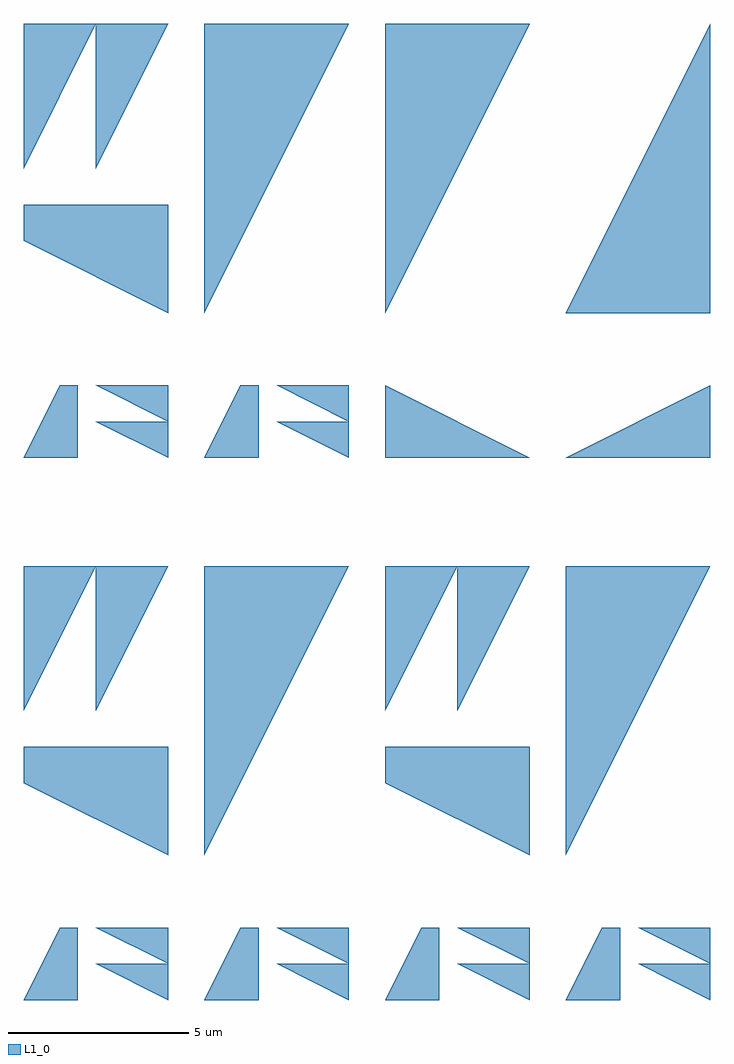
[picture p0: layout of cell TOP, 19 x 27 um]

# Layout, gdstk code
import gdstk
lib = gdstk.Library(unit=1e-6, precision=1e-09)
def R(c, l, rs):  # rectangles x0, y0, x1, y1
    for r in rs: c.add(gdstk.rectangle(r[:2], r[2:], *l))
def A(c, l, x, y, w, h, nx, ny, dx, dy):  # array of equal rectangles
    R(c, l, [(x+i*dx, y+j*dy, x+i*dx+w, y+j*dy+h) for i in range(nx) for j in range(ny)])
def P(c, l, *ps):  # polygons
    for p in ps: c.add(gdstk.Polygon(p, *l))
L1_0 = (1, 0)
L2_0 = (2, 0)
L3_0 = (3, 0)

top = lib.new_cell('TOP')
A(top, L1_0, 1, 0, 0.5, 2, 4, 1, 5, 0)
R(top, L1_0, [(0,6,4,7), (10,6,14,7), (1,15,1.5,17), (6,15,6.5,17), (0,21,4,22)])
P(top, L1_0, [(5,19),(5,27),(9,27)],
  [(0,15),(1,17),(1,15)],
  [(4,15),(2,16),(4,16)],
  [(4,16),(2,17),(4,17)],
  [(5,15),(6,17),(6,15)],
  [(9,15),(7,16),(9,16)],
  [(9,16),(7,17),(9,17)],
  [(4,19),(0,21),(4,21)],
  [(2,23),(2,27),(4,27)],
  [(0,23),(0,27),(2,27)],
  [(5,4),(5,12),(9,12)],
  [(0,0),(1,2),(1,0)],
  [(4,0),(2,1),(4,1)],
  [(4,1),(2,2),(4,2)],
  [(5,0),(6,2),(6,0)],
  [(9,0),(7,1),(9,1)],
  [(9,1),(7,2),(9,2)],
  [(4,4),(0,6),(4,6)],
  [(2,8),(2,12),(4,12)],
  [(0,8),(0,12),(2,12)],
  [(15,4),(15,12),(19,12)],
  [(10,0),(11,2),(11,0)],
  [(14,0),(12,1),(14,1)],
  [(14,1),(12,2),(14,2)],
  [(15,0),(16,2),(16,0)],
  [(19,0),(17,1),(19,1)],
  [(19,1),(17,2),(19,2)],
  [(14,4),(10,6),(14,6)],
  [(12,8),(12,12),(14,12)],
  [(10,8),(10,12),(12,12)],
  [(15,19),(19,27),(19,19)],
  [(10,15),(10,17),(14,15)],
  [(15,15),(19,17),(19,15)],
  [(10,19),(10,27),(14,27)])
top.add(gdstk.FlexPath([(0,15),(1,17)], 0, ends="flush", simple_path=True, layer=2, datatype=0))  # L2_0
top.add(gdstk.FlexPath([(1,17),(1.5,17)], 0, ends="flush", simple_path=True, layer=2, datatype=0))  # L2_0
top.add(gdstk.FlexPath([(2,16),(4,16)], 0, ends="flush", simple_path=True, layer=2, datatype=0))  # L2_0
top.add(gdstk.FlexPath([(4,16),(2,17)], 0, ends="flush", simple_path=True, layer=2, datatype=0))  # L2_0
top.add(gdstk.FlexPath([(5,15),(6,17)], 0, ends="flush", simple_path=True, layer=2, datatype=0))  # L2_0
top.add(gdstk.FlexPath([(6,17),(6.5,17)], 0, ends="flush", simple_path=True, layer=2, datatype=0))  # L2_0
top.add(gdstk.FlexPath([(7,16),(9,16)], 0, ends="flush", simple_path=True, layer=2, datatype=0))  # L2_0
top.add(gdstk.FlexPath([(9,16),(7,17)], 0, ends="flush", simple_path=True, layer=2, datatype=0))  # L2_0
top.add(gdstk.FlexPath([(4,19),(0,21)], 0, ends="flush", simple_path=True, layer=2, datatype=0))  # L2_0
top.add(gdstk.FlexPath([(0,21),(0,22)], 0, ends="flush", simple_path=True, layer=2, datatype=0))  # L2_0
top.add(gdstk.FlexPath([(2,23),(2,27)], 0, ends="flush", simple_path=True, layer=2, datatype=0))  # L2_0
top.add(gdstk.FlexPath([(2,27),(0,23)], 0, ends="flush", simple_path=True, layer=2, datatype=0))  # L2_0
top.add(gdstk.FlexPath([(0,0),(1,2)], 0, ends="flush", simple_path=True, layer=2, datatype=0))  # L2_0
top.add(gdstk.FlexPath([(1,2),(1.5,2)], 0, ends="flush", simple_path=True, layer=2, datatype=0))  # L2_0
top.add(gdstk.FlexPath([(2,1),(4,1)], 0, ends="flush", simple_path=True, layer=2, datatype=0))  # L2_0
top.add(gdstk.FlexPath([(4,1),(2,2)], 0, ends="flush", simple_path=True, layer=2, datatype=0))  # L2_0
top.add(gdstk.FlexPath([(5,0),(6,2)], 0, ends="flush", simple_path=True, layer=2, datatype=0))  # L2_0
top.add(gdstk.FlexPath([(6,2),(6.5,2)], 0, ends="flush", simple_path=True, layer=2, datatype=0))  # L2_0
top.add(gdstk.FlexPath([(7,1),(9,1)], 0, ends="flush", simple_path=True, layer=2, datatype=0))  # L2_0
top.add(gdstk.FlexPath([(9,1),(7,2)], 0, ends="flush", simple_path=True, layer=2, datatype=0))  # L2_0
top.add(gdstk.FlexPath([(4,4),(0,6)], 0, ends="flush", simple_path=True, layer=2, datatype=0))  # L2_0
top.add(gdstk.FlexPath([(0,6),(0,7)], 0, ends="flush", simple_path=True, layer=2, datatype=0))  # L2_0
top.add(gdstk.FlexPath([(2,8),(2,12)], 0, ends="flush", simple_path=True, layer=2, datatype=0))  # L2_0
top.add(gdstk.FlexPath([(2,12),(0,8)], 0, ends="flush", simple_path=True, layer=2, datatype=0))  # L2_0
top.add(gdstk.FlexPath([(10,0),(11,2)], 0, ends="flush", simple_path=True, layer=2, datatype=0))  # L2_0
top.add(gdstk.FlexPath([(11,2),(11.5,2)], 0, ends="flush", simple_path=True, layer=2, datatype=0))  # L2_0
top.add(gdstk.FlexPath([(12,1),(14,1)], 0, ends="flush", simple_path=True, layer=2, datatype=0))  # L2_0
top.add(gdstk.FlexPath([(14,1),(12,2)], 0, ends="flush", simple_path=True, layer=2, datatype=0))  # L2_0
top.add(gdstk.FlexPath([(15,0),(16,2)], 0, ends="flush", simple_path=True, layer=2, datatype=0))  # L2_0
top.add(gdstk.FlexPath([(16,2),(16.5,2)], 0, ends="flush", simple_path=True, layer=2, datatype=0))  # L2_0
top.add(gdstk.FlexPath([(17,1),(19,1)], 0, ends="flush", simple_path=True, layer=2, datatype=0))  # L2_0
top.add(gdstk.FlexPath([(19,1),(17,2)], 0, ends="flush", simple_path=True, layer=2, datatype=0))  # L2_0
top.add(gdstk.FlexPath([(14,4),(10,6)], 0, ends="flush", simple_path=True, layer=2, datatype=0))  # L2_0
top.add(gdstk.FlexPath([(10,6),(10,7)], 0, ends="flush", simple_path=True, layer=2, datatype=0))  # L2_0
top.add(gdstk.FlexPath([(12,8),(12,12)], 0, ends="flush", simple_path=True, layer=2, datatype=0))  # L2_0
top.add(gdstk.FlexPath([(12,12),(10,8)], 0, ends="flush", simple_path=True, layer=2, datatype=0))  # L2_0
top.add(gdstk.FlexPath([(9,27),(5,19)], 0, ends="flush", simple_path=True, layer=3, datatype=0))  # L3_0
top.add(gdstk.FlexPath([(5,19),(5,27)], 0, ends="flush", simple_path=True, layer=3, datatype=0))  # L3_0
top.add(gdstk.FlexPath([(4,15),(2,16)], 0, ends="flush", simple_path=True, layer=3, datatype=0))  # L3_0
top.add(gdstk.FlexPath([(2,16),(4,16)], 0, ends="flush", simple_path=True, layer=3, datatype=0))  # L3_0
top.add(gdstk.FlexPath([(4,16),(2,17)], 0, ends="flush", simple_path=True, layer=3, datatype=0))  # L3_0
top.add(gdstk.FlexPath([(2,17),(4,17)], 0, ends="flush", simple_path=True, layer=3, datatype=0))  # L3_0
top.add(gdstk.FlexPath([(9,15),(7,16)], 0, ends="flush", simple_path=True, layer=3, datatype=0))  # L3_0
top.add(gdstk.FlexPath([(7,16),(9,16)], 0, ends="flush", simple_path=True, layer=3, datatype=0))  # L3_0
top.add(gdstk.FlexPath([(9,16),(7,17)], 0, ends="flush", simple_path=True, layer=3, datatype=0))  # L3_0
top.add(gdstk.FlexPath([(7,17),(9,17)], 0, ends="flush", simple_path=True, layer=3, datatype=0))  # L3_0
top.add(gdstk.FlexPath([(4,27),(2,23)], 0, ends="flush", simple_path=True, layer=3, datatype=0))  # L3_0
top.add(gdstk.FlexPath([(2,23),(2,27)], 0, ends="flush", simple_path=True, layer=3, datatype=0))  # L3_0
top.add(gdstk.FlexPath([(2,27),(0,23)], 0, ends="flush", simple_path=True, layer=3, datatype=0))  # L3_0
top.add(gdstk.FlexPath([(0,23),(0,27)], 0, ends="flush", simple_path=True, layer=3, datatype=0))  # L3_0
top.add(gdstk.FlexPath([(9,12),(5,4)], 0, ends="flush", simple_path=True, layer=3, datatype=0))  # L3_0
top.add(gdstk.FlexPath([(5,4),(5,12)], 0, ends="flush", simple_path=True, layer=3, datatype=0))  # L3_0
top.add(gdstk.FlexPath([(4,0),(2,1)], 0, ends="flush", simple_path=True, layer=3, datatype=0))  # L3_0
top.add(gdstk.FlexPath([(2,1),(4,1)], 0, ends="flush", simple_path=True, layer=3, datatype=0))  # L3_0
top.add(gdstk.FlexPath([(4,1),(2,2)], 0, ends="flush", simple_path=True, layer=3, datatype=0))  # L3_0
top.add(gdstk.FlexPath([(2,2),(4,2)], 0, ends="flush", simple_path=True, layer=3, datatype=0))  # L3_0
top.add(gdstk.FlexPath([(9,0),(7,1)], 0, ends="flush", simple_path=True, layer=3, datatype=0))  # L3_0
top.add(gdstk.FlexPath([(7,1),(9,1)], 0, ends="flush", simple_path=True, layer=3, datatype=0))  # L3_0
top.add(gdstk.FlexPath([(9,1),(7,2)], 0, ends="flush", simple_path=True, layer=3, datatype=0))  # L3_0
top.add(gdstk.FlexPath([(7,2),(9,2)], 0, ends="flush", simple_path=True, layer=3, datatype=0))  # L3_0
top.add(gdstk.FlexPath([(4,12),(2,8)], 0, ends="flush", simple_path=True, layer=3, datatype=0))  # L3_0
top.add(gdstk.FlexPath([(2,8),(2,12)], 0, ends="flush", simple_path=True, layer=3, datatype=0))  # L3_0
top.add(gdstk.FlexPath([(2,12),(0,8)], 0, ends="flush", simple_path=True, layer=3, datatype=0))  # L3_0
top.add(gdstk.FlexPath([(0,8),(0,12)], 0, ends="flush", simple_path=True, layer=3, datatype=0))  # L3_0
top.add(gdstk.FlexPath([(19,12),(15,4)], 0, ends="flush", simple_path=True, layer=3, datatype=0))  # L3_0
top.add(gdstk.FlexPath([(15,4),(15,12)], 0, ends="flush", simple_path=True, layer=3, datatype=0))  # L3_0
top.add(gdstk.FlexPath([(14,0),(12,1)], 0, ends="flush", simple_path=True, layer=3, datatype=0))  # L3_0
top.add(gdstk.FlexPath([(12,1),(14,1)], 0, ends="flush", simple_path=True, layer=3, datatype=0))  # L3_0
top.add(gdstk.FlexPath([(14,1),(12,2)], 0, ends="flush", simple_path=True, layer=3, datatype=0))  # L3_0
top.add(gdstk.FlexPath([(12,2),(14,2)], 0, ends="flush", simple_path=True, layer=3, datatype=0))  # L3_0
top.add(gdstk.FlexPath([(19,0),(17,1)], 0, ends="flush", simple_path=True, layer=3, datatype=0))  # L3_0
top.add(gdstk.FlexPath([(17,1),(19,1)], 0, ends="flush", simple_path=True, layer=3, datatype=0))  # L3_0
top.add(gdstk.FlexPath([(19,1),(17,2)], 0, ends="flush", simple_path=True, layer=3, datatype=0))  # L3_0
top.add(gdstk.FlexPath([(17,2),(19,2)], 0, ends="flush", simple_path=True, layer=3, datatype=0))  # L3_0
top.add(gdstk.FlexPath([(14,12),(12,8)], 0, ends="flush", simple_path=True, layer=3, datatype=0))  # L3_0
top.add(gdstk.FlexPath([(12,8),(12,12)], 0, ends="flush", simple_path=True, layer=3, datatype=0))  # L3_0
top.add(gdstk.FlexPath([(12,12),(10,8)], 0, ends="flush", simple_path=True, layer=3, datatype=0))  # L3_0
top.add(gdstk.FlexPath([(10,8),(10,12)], 0, ends="flush", simple_path=True, layer=3, datatype=0))  # L3_0
top.add(gdstk.FlexPath([(15,19),(19,27)], 0, ends="flush", simple_path=True, layer=3, datatype=0))  # L3_0
top.add(gdstk.FlexPath([(19,27),(19,19)], 0, ends="flush", simple_path=True, layer=3, datatype=0))  # L3_0
top.add(gdstk.FlexPath([(10,17),(14,15)], 0, ends="flush", simple_path=True, layer=3, datatype=0))  # L3_0
top.add(gdstk.FlexPath([(14,15),(10,15)], 0, ends="flush", simple_path=True, layer=3, datatype=0))  # L3_0
top.add(gdstk.FlexPath([(19,15),(15,15)], 0, ends="flush", simple_path=True, layer=3, datatype=0))  # L3_0
top.add(gdstk.FlexPath([(15,15),(19,17)], 0, ends="flush", simple_path=True, layer=3, datatype=0))  # L3_0
top.add(gdstk.FlexPath([(14,27),(10,19)], 0, ends="flush", simple_path=True, layer=3, datatype=0))  # L3_0
top.add(gdstk.FlexPath([(10,19),(10,27)], 0, ends="flush", simple_path=True, layer=3, datatype=0))  # L3_0

lib.write_gds('TOP.gds')
